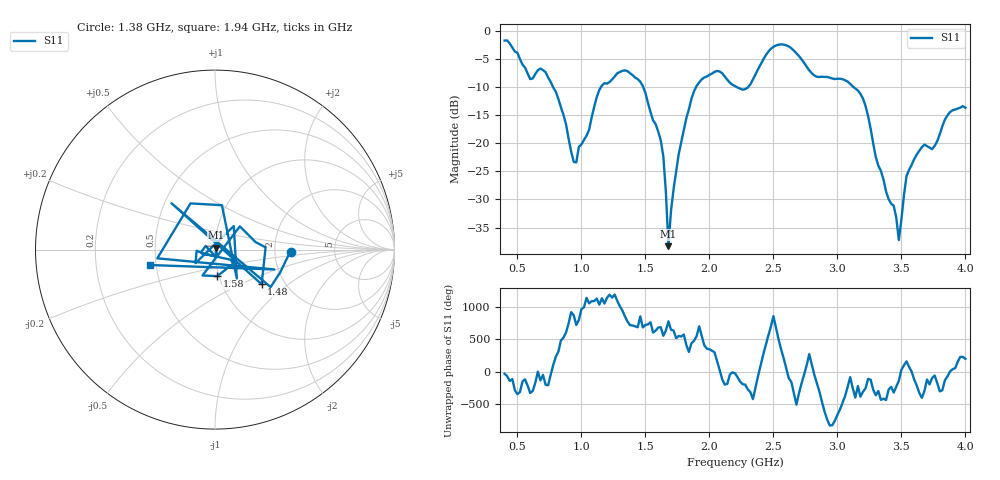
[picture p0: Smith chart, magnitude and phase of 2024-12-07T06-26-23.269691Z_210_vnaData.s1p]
!Created with skrf (http://scikit-rf.org).
# Hz S RI R 50.0
!freq ReS11 ImS11
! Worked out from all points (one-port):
!   181 points, 400 MHz to 4 GHz, reference 50 ohm
!   lowest |S11| = -38.3 dB at 1.68 GHz (marker M1), VSWR 1.02, Z = 50.6 + j1.04 ohm
!   |S11| at or under -10 dB: 779.2 MHz to 1.152 GHz (373 MHz wide, 38.6 % of centre); 1.483 GHz to 1.895 GHz (411.6 MHz wide, 24.4 % of centre); 3.128 GHz to end of sweep (the widest 3 of 4)
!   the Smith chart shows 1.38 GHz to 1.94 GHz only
!   S11 on the Smith chart (normalised r, x): 1.38 GHz: 2.46, -0.07; 1.48 GHz: 1.53, -0.66; 1.58 GHz: 0.98, -0.30; 1.94 GHz: 0.46, -0.09
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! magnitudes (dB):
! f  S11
! 400 MHz  -1.7
! 600 MHz  -8.5
! 720 MHz  -7.3
! 860 MHz  -14.9
! 960 MHz  -23.4
! 1.14 GHz  -10.5
! 1.3 GHz  -7.3
! 1.38 GHz  -7.5
! 1.48 GHz  -9.8
! 1.58 GHz  -16.6
! 1.64 GHz  -22.3
! 1.68 GHz  -38.3
! 1.76 GHz  -21.9
! 1.86 GHz  -12.0
! 1.94 GHz  -8.6
! 2.2 GHz  -9.8
! 2.3 GHz  -10.0
! 2.5 GHz  -2.8
! 2.66 GHz  -3.5
! 2.82 GHz  -7.9
! 3.1 GHz  -9.4
! 3.22 GHz  -13.4
! 3.3 GHz  -22.5
! 3.44 GHz  -31.1
! 3.48 GHz  -37.2
! 3.56 GHz  -24.7
! 3.88 GHz  -14.4
! 4 GHz  -13.6
